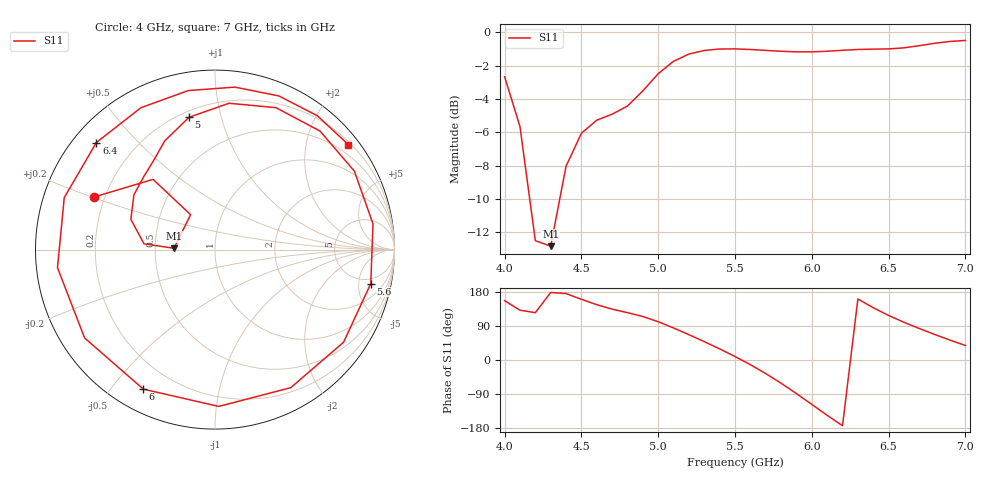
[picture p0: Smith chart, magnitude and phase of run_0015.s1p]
! Touchstone file exported from HFSS 2024.2.0
!  File:  C:/Users/wsak9/Desktop/Sim Fast/Widenad Patch/WP_AI_V1_sweep.aedt
!  Generated:  03:22:13 PM Oct 13, 2026
!  Design:  A1_model
!  Project:  WP_AI_V1_sweep
!  Setup:  Setup1
!  Solution:  Sweep
! Variables:
!  Air_gap = 3.24mm
!  Curve_Amp1 = 2.21
!  Curve_len1 = 1
!  Curve_pos = 13.35mm
!  Extra = 4.11mm
!  H_sub = 0.79mm
!  L_Patch = 22.7mm
!  L_Patch1 = 17.3mm
!  Sx = 4.2mm
!  Sy = 0.54mm
!  WS = 1.05mm
!  W_Patch = 15.49mm
!  W_Patch1 = 13.19mm
!Data is not renormalized
# GHz S MA
! Terminal data exported
! Port[1] = 1
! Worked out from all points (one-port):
!   31 points, 4 GHz to 7 GHz, reference per port
!   lowest |S11| = -12.8 dB at 4.3 GHz (marker M1), VSWR 1.59
!   |S11| at or under -10 dB: 4.164 GHz to 4.359 GHz (195.4 MHz wide, 4.58 % of centre)
!   S11 on the Smith chart (normalised r, x): 4 GHz: 0.16, +0.20; 5 GHz: 0.24, +0.80; 5.6 GHz: 3.95, -7.10; 6 GHz: 0.09, -0.61; 6.4 GHz: 0.07, +0.38; 7 GHz: 0.26, +2.86
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4  0.7362 156.6
4.1  0.5217 131.4
4.2  0.2373 124.9
4.3  0.2284 178.1
4.4  0.3968 175.3
4.5  0.4981 160.2
4.8  0.6012 124.9
4.9  0.6675 114.8
5  0.7513 101.1
5.1  0.819 84.5
5.2  0.8607 66.8
5.3  0.8824 48.4
5.4  0.8911 29.4
5.5  0.8919 9.3
5.6  0.8883 -12.3
5.7  0.8828 -35.8
5.8  0.8774 -61.2
5.9  0.874 -88.6
6  0.8739 -117.2
6.1  0.8776 -145.9
6.2  0.8834 -173.4
6.3  0.8884 161.0
6.4  0.8904 137.9
6.5  0.8917 117.6
6.6  0.8985 99.5
6.7  0.9121 83.0
6.8  0.9271 67.4
7  0.9455 38.3
